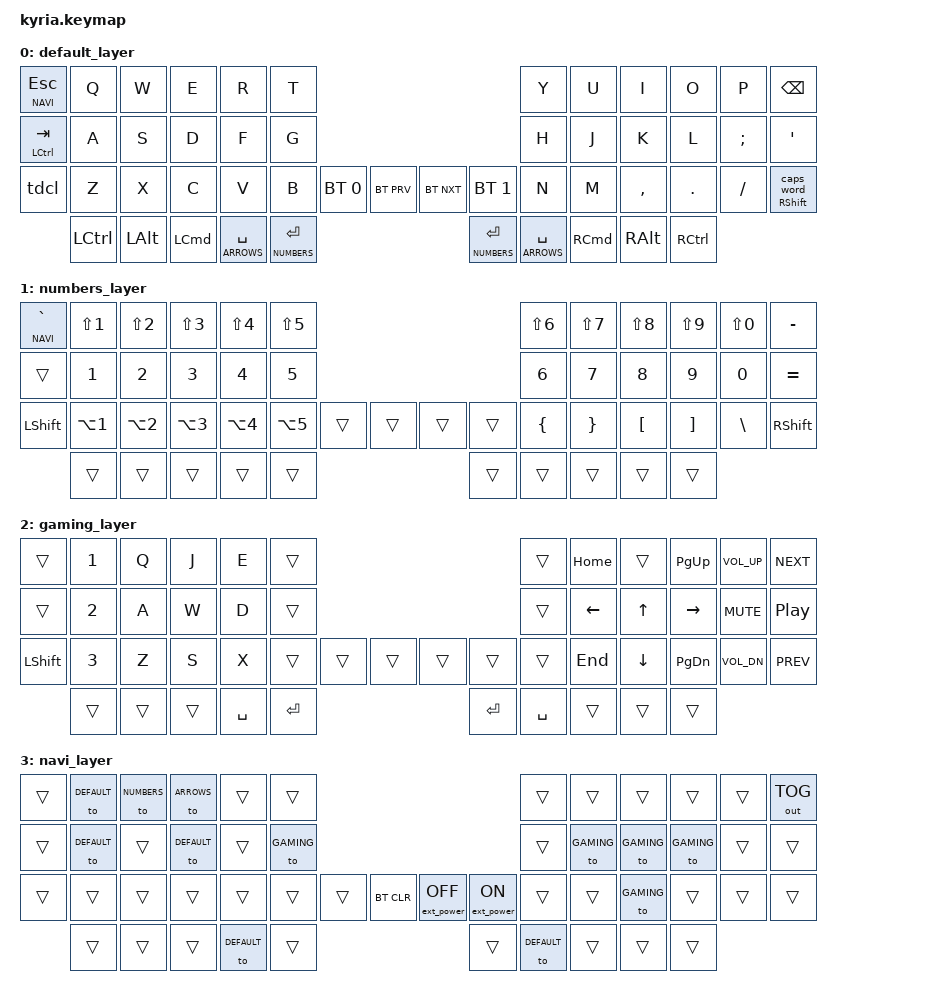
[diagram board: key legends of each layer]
/*
 * Copyright (c) 2020 The ZMK Contributors
 *
 * SPDX-License-Identifier: MIT
 */

#include <behaviors.dtsi>
#include <dt-bindings/zmk/keys.h>
#include <dt-bindings/zmk/bt.h>
#include <dt-bindings/zmk/ext_power.h>
#include <dt-bindings/zmk/outputs.h>

#define DEFAULT 0
#define NUMBERS 1
#define GAMING  2
#define ARROWS  2
#define NAVI    3

/ {
	behaviors {
		htcw: hold_tap_caps_word {
			compatible = "zmk,behavior-hold-tap";
			#binding-cells = <2>;	
			flavor = "hold-preferred";
			tapping-term-ms = <200>;
			quick-tap-ms = <0>;
			bindings = <&kp>, <&caps_word>;
		};
		tdcl: tap_dance_caps_lock {
			compatible = "zmk,behavior-tap-dance";
			#binding-cells = <0>;
			tapping-term-ms = <200>;
			bindings = <&kp LSHIFT>, <&kp CAPS>; 
		};
	};
	keymap {
		compatible = "zmk,keymap";

		default_layer {
// ---------------------------------------------------------------------------------------------------------------------------------
// |  ESC  |  Q  |  W  |  E   |  R   |  T   |                                          |  Y   |  U    |  I    |  O   |   P   | BKSP  |
// |  TAB  |  A  |  S  |  D   |  F   |  G   |                                          |  H   |  J    |  K    |  L   |   ;   |   '   |
// | SHIFT |  Z  |  X  |  C   |  V   |  B   | BT_SEL 0|  BT_PRV |  | BT_NXT  | BT_SEL 1|  N   |  M    |  ,    |  .   |   /   | SHIFT |
//                     | CTRL | ALT  | CMD  |  SPACE  |   NUM   |  |   RET   |  SPACE  | NUM  | ALT   | CTRL  |
			bindings = <
	&lt NAVI ESC   &kp Q &kp W &kp E &kp R &kp T                                                &kp Y &kp U  &kp I     &kp O   &kp P    &kp BKSP
	&mt LCTRL TAB   &kp A &kp S &kp D &kp F &kp G                                                &kp H &kp J  &kp K     &kp L   &kp SEMI &kp SQT
	&tdcl &kp Z &kp X &kp C &kp V &kp B &bt BT_SEL 0 &bt BT_PRV		&bt BT_NXT &bt BT_SEL 1 &kp N &kp M  &kp COMMA &kp DOT &kp FSLH &htcw RSHFT 0
	                 &kp LCTRL &kp LALT &kp LCMD &lt ARROWS SPACE &lt NUMBERS RET    &lt NUMBERS RET &lt ARROWS SPACE  &kp RCMD &kp RALT &kp RCTRL
			>;
		};
		numbers_layer {
// . means trans!
// ---------------------------------------------------------------------------------------------------------------------------------
// |  `  |   !   |   @   |   £   |   $   |   %   |                               |   ^   |   &   |   *   |   (  |   )   |  -  |
// |  .  |   1   |   2   |   3   |   4   |   5   |                               |   6   |   7   |   8   |   9  |   0   |  =  |
// |  .  |   ¡   |   €   |   #   |   ¢   |   .   |  .  | .  |       |  .  |  .   |   {   |   }   |   [   |   ]  |   \   |  .  |
//                       |   .   |   .   |   .   |  .  | .  |       |  .  |  .   |   .   |   .   |   .   |
			bindings = <
	&lt NAVI GRAVE	&kp LS(N1)	&kp LS(N2) &kp LS(N3) &kp LS(N4) &kp LS(N5)					&kp LS(N6) &kp LS(N7) &kp LS(N8) &kp LS(N9) &kp LS(N0) &kp MINUS
	&trans		&kp N1		&kp N2	   &kp N3	  &kp N4	 &kp N5						&kp N6	   &kp N7	  &kp N8	 &kp N9		&kp N0	   &kp EQUAL
	&kp LSHFT	&kp LA(N1)	&kp LA(N2) &kp LA(N3) &kp LA(N4) &kp LA(N5) &trans &trans 	&trans &trans &kp LBRC &kp RBRC &kp LBKT &kp RBKT &kp BSLH &kp RSHFT 
					&trans &trans &trans &trans &trans 							&trans &trans &trans &trans &trans 

			>;
		};
		gaming_layer {
// . means trans!
// ---------------------------------------------------------------------------------------------------------------------------------
// |  .  |   1   |   Q   |   J   |   E   |   .   |                               |   .   |  HOME  |   .    | PG_UP | C_VOL_UP | C_NEXT |
// |  .  |   2   |   A   |   W   |   D   |   .   |                               |   .   |  LEFT  |   UP   | RIGHT |  K_MUTE  | C_PP   |
// |  .  |   3   |   Z   |   S   |   X   |   .   |  .  | .  |       |  .  |  .   |   .   |  END   |  DOWN  | PG_DN | C_VOL_DN | C_PREV |
//                       |   .   |   .   |   .   |  .  | .  |       |  .  |  .   |   .   |   .    |   .    |
			bindings = <
	&trans		&kp N1		&kp Q	   &kp J	  &kp E	 &trans									&trans	   &kp HOME	  &trans	 &kp PG_UP	&kp C_VOL_UP	&kp C_NEXT
	&trans		&kp N2		&kp A	   &kp W	  &kp D	 &trans									&trans	   &kp LEFT	  &kp UP	 &kp RIGHT	&kp K_MUTE		&kp C_PP
	&kp LSHFT	&kp N3		&kp Z	   &kp S	  &kp X	 &trans	&trans &trans	&trans &trans	&trans	   &kp END	  &kp DOWN	 &kp PG_DN	&kp C_VOL_DN	&kp C_PREV
					&trans &trans &trans &kp SPACE &kp RET 							&kp RET &kp SPACE &trans &trans &trans 
			>;
		};
		navi_layer {
// . means trans!
// ---------------------------------------------------------------------------------------------------------------------------------
// |  .  |DEFAULT|NUMBERS| ARROWS|   .   |   .   |                                 |   .   |   .   |   .   |   .  |   .   |OUT_BLE|
// |  .  |DEFAULT|   .   |DEFAULT|   .   |GAMING |                                 |   .   | GAMING| GAMING|GAMING|   .   |   .   |
// |  .  |   .   |   .   |   .   |   .   |   .   |  .  | BT_CLR |  | EP_OFF| EP_ON |   .   |   .   | GAMING|   .  |   .   |   .   |
//                       |   .   |   .   |   .   |  D  | .  |      |   .   |   D   |   .   |   .   |   .   |
			bindings = <
	&trans		&to DEFAULT	&to NUMBERS &to ARROWS &trans	 &trans						&trans	   &trans	  &trans	 &trans		&trans	   &out OUT_TOG
	&trans		&to DEFAULT	&trans	   &to DEFAULT &trans	 &to GAMING					&trans	   &to GAMING &to GAMING &to GAMING	&trans	   &trans
	&trans		&trans		&trans	   &trans	  &trans	 &trans	&trans &bt BT_CLR	&ext_power EP_OFF  &ext_power EP_ON &trans	 &trans		&to GAMING	   &trans	&trans	&trans 
					&trans &trans &trans &to DEFAULT &trans 							&trans &to DEFAULT &trans &trans &trans 
			>;
		};
	};
};
